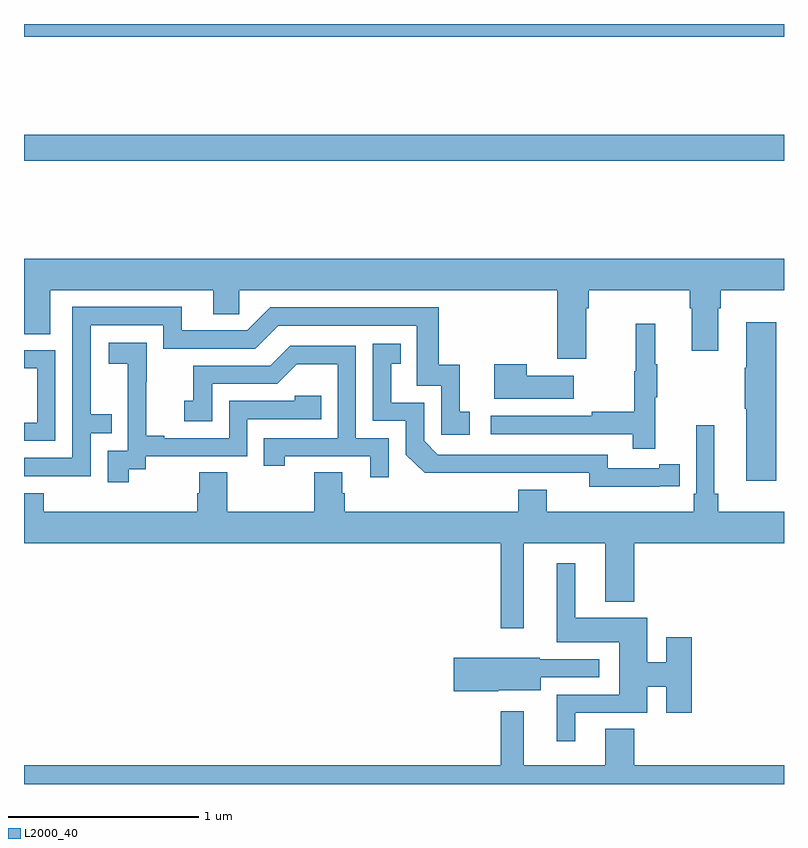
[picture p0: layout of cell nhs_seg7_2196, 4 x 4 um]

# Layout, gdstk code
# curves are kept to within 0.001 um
import gdstk
lib = gdstk.Library(unit=1e-6, precision=1e-09)
def R(c, l, rs):  # rectangles x0, y0, x1, y1
    for r in rs: c.add(gdstk.rectangle(r[:2], r[2:], *l))
def P(c, l, *ps):  # polygons
    for p in ps: c.add(gdstk.Polygon(p, *l))
L2000_40 = (2000, 40)

nhs_seg7_2196 = lib.new_cell('nhs_seg7_2196')
R(nhs_seg7_2196, L2000_40, [(255,1017.28,259,1017.416), (255,1017.932,259,1018)])
P(nhs_seg7_2196, L2000_40, [(257.959,1016.504),(257.972,1016.504),(257.972,1016.6),(258.503,1016.6),(258.503,1016.504),(258.515,1016.504),(258.515,1016.28),(258.655,1016.28),(258.655,1016.504),(258.668,1016.504),(258.668,1016.6),(259,1016.6),(259,1016.764),(255,1016.764),(255,1016.368),(255.139,1016.368),(255.139,1016.6),(255.995,1016.6),(255.995,1016.473),(256.134,1016.473),(256.134,1016.6),(257.807,1016.6),(257.807,1016.238),(257.959,1016.238)],
  [(255.351,1015.845),(255.461,1015.845),(255.461,1015.946),(255.351,1015.946),(255.351,1016.415),(255.732,1016.415),(255.732,1016.292),(256.218,1016.292),(256.338,1016.412),(257.067,1016.412),(257.067,1016.097),(257.196,1016.097),(257.196,1015.839),(257.347,1015.839),(257.347,1015.959),(257.294,1015.959),(257.294,1016.206),(257.183,1016.206),(257.183,1016.508),(256.296,1016.508),(256.176,1016.388),(255.829,1016.388),(255.829,1016.511),(255.255,1016.511),(255.255,1015.716),(255,1015.716),(255,1015.62),(255.351,1015.62)],
  [(258.959,1016.431),(258.8,1016.431),(258.8,1016.192),(258.793,1016.192),(258.793,1015.975),(258.8,1015.975),(258.8,1015.596),(258.959,1015.596)],
  [(258.323,1016.035),(258.334,1016.035),(258.334,1016.209),(258.323,1016.209),(258.323,1016.422),(258.22,1016.422),(258.22,1016.172),(258.213,1016.172),(258.213,1015.958),(257.989,1015.958),(257.989,1015.938),(257.457,1015.938),(257.457,1015.842),(258.205,1015.842),(258.205,1015.764),(258.323,1015.764)],
  [(255.55,1015.657),(255.642,1015.657),(255.642,1015.725),(256.176,1015.725),(256.176,1015.92),(256.565,1015.92),(256.565,1016.043),(256.425,1016.043),(256.425,1016.016),(256.08,1016.016),(256.08,1015.821),(255.739,1015.821),(255.739,1015.834),(255.644,1015.834),(255.644,1016.117),(255.645,1016.117),(255.645,1016.323),(255.447,1016.323),(255.447,1016.213),(255.545,1016.213),(255.545,1015.985),(255.546,1015.985),(255.546,1015.755),(255.441,1015.755),(255.441,1015.587),(255.55,1015.587)],
  [(258.344,1015.566),(258.452,1015.566),(258.452,1015.682),(258.344,1015.682),(258.344,1015.662),(258.072,1015.662),(258.072,1015.734),(257.178,1015.734),(257.106,1015.806),(257.106,1016.007),(256.933,1016.007),(256.933,1016.211),(256.982,1016.211),(256.982,1016.317),(256.836,1016.317),(256.836,1015.911),(257.01,1015.911),(257.01,1015.734),(257.108,1015.637),(257.976,1015.638),(257.976,1015.565)],
  [(256.92,1015.821),(256.746,1015.821),(256.746,1016.307),(256.4,1016.307),(256.295,1016.202),(255.892,1016.202),(255.892,1016.017),(255.843,1016.017),(255.843,1015.908),(255.99,1015.908),(255.99,1016.106),(256.332,1016.106),(256.436,1016.21),(256.65,1016.21),(256.65,1015.821),(256.261,1015.821),(256.261,1015.674),(256.372,1015.674),(256.372,1015.725),(256.823,1015.725),(256.823,1015.614),(256.92,1015.614)],
  [(255.165,1016.283),(255,1016.283),(255,1016.187),(255.069,1016.187),(255.069,1015.902),(255,1015.902),(255,1015.806),(255.165,1015.806)],
  [(257.893,1016.149),(257.645,1016.149),(257.645,1016.209),(257.474,1016.209),(257.474,1016.027),(257.893,1016.027)],
  [(257.629,1015.268),(258.059,1015.268),(258.059,1014.959),(258.212,1014.959),(258.212,1015.268),(259,1015.268),(259,1015.432),(258.653,1015.432),(258.653,1015.528),(258.634,1015.528),(258.634,1015.888),(258.537,1015.888),(258.537,1015.528),(258.524,1015.528),(258.524,1015.432),(257.752,1015.432),(257.752,1015.549),(257.6,1015.549),(257.6,1015.432),(256.688,1015.432),(256.688,1015.53),(256.675,1015.53),(256.675,1015.64),(256.528,1015.64),(256.528,1015.432),(256.071,1015.432),(256.071,1015.64),(255.923,1015.64),(255.923,1015.53),(255.911,1015.53),(255.911,1015.432),(255.104,1015.432),(255.104,1015.531),(255,1015.531),(255,1015.268),(257.508,1015.268),(257.508,1014.819),(257.629,1014.819)],
  [(257.902,1014.375),(258.28,1014.375),(258.28,1014.513),(258.38,1014.513),(258.38,1014.375),(258.515,1014.375),(258.515,1014.772),(258.38,1014.772),(258.38,1014.641),(258.28,1014.641),(258.28,1014.874),(257.902,1014.874),(257.902,1015.162),(257.804,1015.162),(257.804,1014.746),(258.134,1014.746),(258.134,1014.471),(257.804,1014.471),(257.804,1014.225),(257.902,1014.225)],
  [(257.496,1014.494),(257.719,1014.494),(257.719,1014.561),(258.028,1014.561),(258.028,1014.657),(257.715,1014.657),(257.715,1014.665),(257.262,1014.665),(257.262,1014.487),(257.496,1014.487)],
  [(259,1014.1),(258.212,1014.1),(258.212,1014.29),(258.059,1014.29),(258.059,1014.1),(257.629,1014.1),(257.629,1014.382),(257.508,1014.382),(257.508,1014.1),(255,1014.1),(255,1014),(259,1014)])

lib.write_gds('nhs_seg7_2196.gds')
